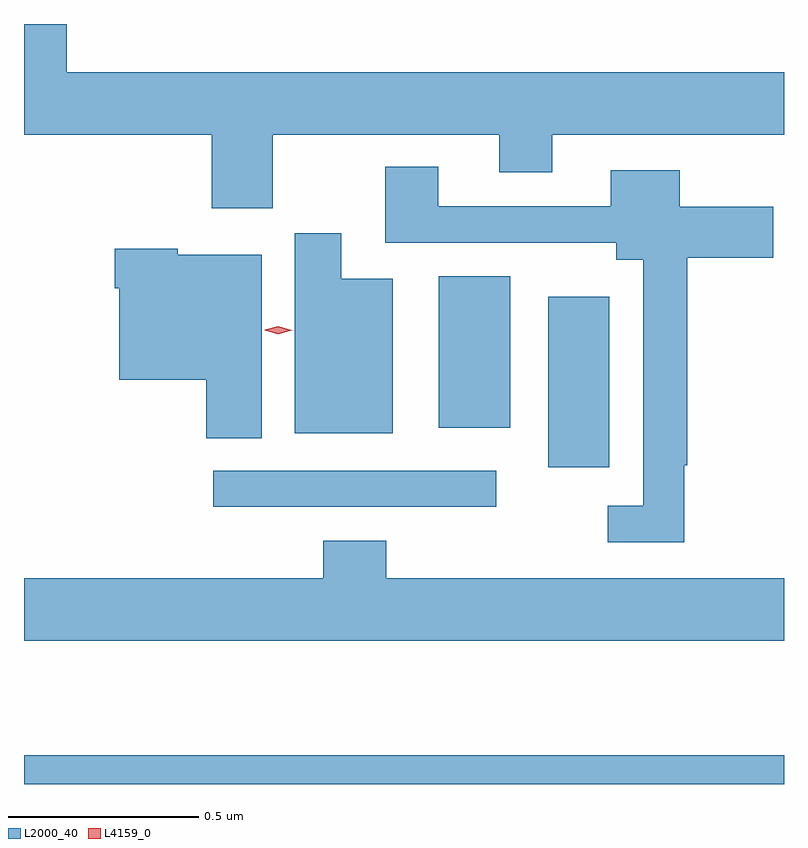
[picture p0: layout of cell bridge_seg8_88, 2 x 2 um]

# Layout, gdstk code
import gdstk
lib = gdstk.Library(unit=1e-6, precision=1e-09)
def R(c, l, rs):  # rectangles x0, y0, x1, y1
    for r in rs: c.add(gdstk.rectangle(r[:2], r[2:], *l))
def P(c, l, *ps):  # polygons
    for p in ps: c.add(gdstk.Polygon(p, *l))
L2000_40 = (2000, 40)
L4159_0 = (4159, 0)

bridge_seg8_88 = lib.new_cell('bridge_seg8_88')
R(bridge_seg8_88, L2000_40, [(846.189,1104.135,848.189,1104.211), (846.687,1104.864,847.432,1104.96), (847.568,1104.969,847.729,1105.417), (847.28,1105.073,847.468,1105.471)])
P(bridge_seg8_88, L2000_40, [(846.843,1105.844),(847.439,1105.844),(847.439,1105.745),(847.579,1105.745),(847.579,1105.844),(848.189,1105.844),(848.189,1106.008),(846.302,1106.008),(846.302,1106.135),(846.189,1106.135),(846.189,1105.844),(846.683,1105.844),(846.683,1105.65),(846.843,1105.65)],
  [(847.927,1104.974),(847.934,1104.974),(847.934,1105.52),(848.161,1105.52),(848.161,1105.654),(847.915,1105.654),(847.915,1105.75),(847.733,1105.75),(847.733,1105.656),(847.279,1105.656),(847.279,1105.759),(847.139,1105.759),(847.139,1105.56),(847.748,1105.56),(847.748,1105.514),(847.818,1105.514),(847.818,1104.867),(847.725,1104.867),(847.725,1104.771),(847.927,1104.771)],
  [(847.159,1105.465),(847.024,1105.465),(847.024,1105.585),(846.902,1105.585),(846.902,1105.058),(847.159,1105.058)],
  [(846.814,1105.528),(846.594,1105.528),(846.594,1105.543),(846.428,1105.543),(846.428,1105.439),(846.44,1105.439),(846.44,1105.199),(846.668,1105.199),(846.668,1105.045),(846.814,1105.045)],
  [(848.189,1104.676),(847.142,1104.676),(847.142,1104.775),(846.977,1104.775),(846.977,1104.676),(846.189,1104.676),(846.189,1104.512),(848.189,1104.512)])
P(bridge_seg8_88, L4159_0, [(846.858,1105.319),(846.822,1105.329),(846.822,1105.329),(846.822,1105.33),(846.858,1105.339),(846.894,1105.329),(846.895,1105.329),(846.894,1105.329)])

lib.write_gds('bridge_seg8_88.gds')
